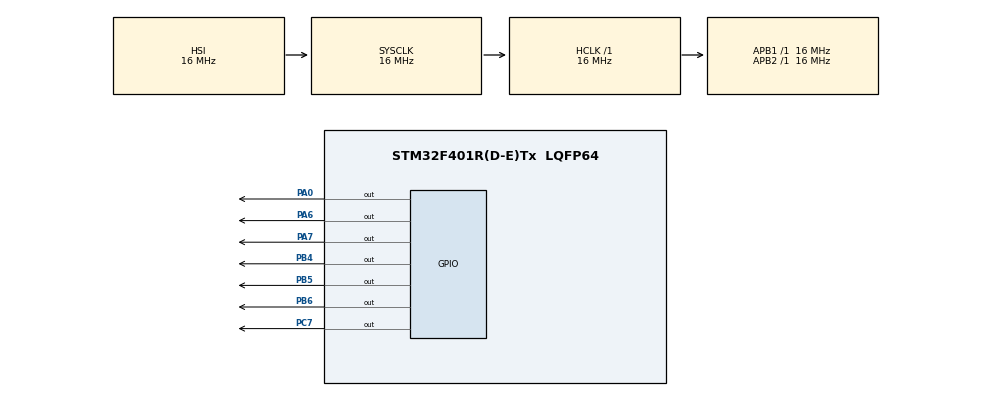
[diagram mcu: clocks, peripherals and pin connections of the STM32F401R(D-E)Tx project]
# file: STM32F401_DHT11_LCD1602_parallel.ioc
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Mcu.Family=STM32F4
Mcu.Name=STM32F401R(D-E)Tx
Mcu.Package=LQFP64
NVIC.PriorityGroup=NVIC_PRIORITYGROUP_4
PA0-WKUP.PinState=GPIO_PIN_SET
PA0-WKUP.Signal=GPIO_Output
PA6.Signal=GPIO_Output
PA7.Signal=GPIO_Output
PB4.Signal=GPIO_Output
PB5.Signal=GPIO_Output
PB6.Signal=GPIO_Output
PC7.Signal=GPIO_Output
ProjectManager.HeapSize=0x200
ProjectManager.StackSize=0x400
ProjectManager.TargetToolchain=STM32CubeIDE
RCC.AHBFreq_Value=16000000
RCC.APB1Freq_Value=16000000
RCC.APB2Freq_Value=16000000
RCC.CortexFreq_Value=16000000
RCC.HSE_VALUE=25000000
RCC.HSI_VALUE=16000000
RCC.LSE_VALUE=32768
RCC.SYSCLKFreq_VALUE=16000000
RCC.VCOOutputFreq_Value=192000000
TIM2.Period=65535
TIM2.Prescaler=15
VP_TIM2_VS_ClockSourceINT.Mode=Internal
board=custom

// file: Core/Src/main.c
/* USER CODE BEGIN Header */
/**
  ******************************************************************************
  * @file           : main.c
  * @brief          : Main program body
  ******************************************************************************
  * @attention
  *
  * Copyright (c) 2025 STMicroelectronics.
  * All rights reserved.
  *
  * This software is licensed under terms that can be found in the LICENSE file
  * in the root directory of this software component.
  * If no LICENSE file comes with this software, it is provided AS-IS.
  *
  ******************************************************************************
  */
/* USER CODE END Header */
#include "main.h"

/* USER CODE BEGIN Includes */
#include <stdio.h>
#include <string.h>
#include "stm32f4xx_hal.h"

#include "../../DelayMicro/Inc/delay_micro.h"
#include "../../Lcd1602/Inc/lcd1602.h"
#include "../../Dht11/Inc/dht11.h"
/* USER CODE END Includes */

TIM_HandleTypeDef htim2;

void SystemClock_Config(void);
static void MX_GPIO_Init(void);
static void MX_TIM2_Init(void);

int main(void)
{

  /* MCU Configuration--------------------------------------------------------*/

  /* Reset of all peripherals, Initializes the Flash interface and the Systick. */
  HAL_Init();

  /* Configure the system clock */
  SystemClock_Config();

  /* USER CODE BEGIN SysInit */
  // Initialize TIM2 to use for micro-delays
  TIM2MicrosecondsDelayInit();
  /* USER CODE END SysInit */

  /* Initialize all configured peripherals */
  MX_GPIO_Init();
  MX_TIM2_Init();
  /* USER CODE BEGIN 2 */
    char message1[100];
    char message2[100];

    strcpy(message1,  " *** STM32 ***  ");
    strcpy(message2, " DH11 connected ");

    // Configure data line pin for the DHT11
    DTH11GpioDataLine data_line = {GPIOA, GPIO_PIN_0};
    Dht11ConfigureDataLine(data_line);

    // Set Data Bus Size for 4-bit mode
    Lcd1602SetDataBusSize(LCD1602_DATA_BUS_SIZE4);
    // Define Data bus pins for 4-bit mode
	GpioItem lcd1602_gpio_data_bus[] =
	{
        {GPIOC, GPIO_PIN_7},  // D4
        {GPIOB, GPIO_PIN_6},  // D5
        {GPIOA, GPIO_PIN_7},  // D6
        {GPIOA, GPIO_PIN_6},  // D7
        {NULL, 0},
        {NULL, 0},
        {NULL, 0},
        {NULL, 0}
    };
    // Define Enable signal pin for 4-bit mode
    GpioItem enable_signal = {GPIOB, GPIO_PIN_4};
    // Define Register selection pin for 4-bit mode
    GpioItem register_selection = {GPIOB, GPIO_PIN_5};
    // Configure 4-bit mode
    Lcd1602Configure4Bits(lcd1602_gpio_data_bus, enable_signal, register_selection);

    Lcd1602ScreenClear();
    Lcd1602SetCursor(0, 1);
    Lcd1602WriteString(message1);
    Lcd1602SetCursor(1, 0);
    Lcd1602WriteString(message2);

    TIM2MillisecondsDelay(3000);
  /* USER CODE END 2 */

  /* Infinite loop */
  /* USER CODE BEGIN WHILE */

    while (1)
    {
        // Send a request to the DHT11 sensor
        Dht11SendRequest();

        // Get a response from the DHT11 sensor
        if (Dht11GetResponse())
	    {
        	// Get responsed bytes
        	uint8_t rh_byte1 = 0;
        	uint8_t rh_byte2 = 0;
        	uint8_t temp_byte1 = 0;
        	uint8_t temp_byte2 = 0;
        	uint8_t sum = 0;
        	uint8_t crc = 0;

        	Dht11GetResponsedBytes(&rh_byte1, &rh_byte2, &temp_byte1, &temp_byte2, &sum);
        	crc = rh_byte1 + rh_byte2 + temp_byte1 + temp_byte2;

        	if (crc == sum)
        	{
                float humidity = (float)(rh_byte1) + (float)(rh_byte2)/10.0;
            	float temperature = (float)(temp_byte1) + (float)(temp_byte2)/DHT11_SCALE;
            	char temperature_str[10];
                char humidity_str[10];

	            sprintf(temperature_str, "Tc = %2.1Lf", (long double)temperature);
	            sprintf(humidity_str, "Rh = %2.1Lf", (long double)humidity);

	            strcpy(message1, temperature_str);
	            strcpy(message2, humidity_str);
	            Lcd1602ScreenClear();
	            Lcd1602SetCursor(0, 4);
	            Lcd1602WriteString(message1);
	            Lcd1602SetCursor(1, 4);
	            Lcd1602WriteString(message2);
        	}
        	else
        	{
	            sprintf(message1, "*** CRC = %u", crc);
	            sprintf(message2, "*** SUM = %u", sum);
	            Lcd1602ScreenClear();
	            Lcd1602SetCursor(0, 0);
	            Lcd1602WriteString(message1);
	            Lcd1602SetCursor(1, 0);
	            Lcd1602WriteString(message2);
        	}
      }
	  else
	  {
          strcpy(message1, "*** Sensor ***");
          strcpy(message2, "*** Error ***");
          Lcd1602ScreenClear();
          Lcd1602SetCursor(0, 4);
          Lcd1602WriteString(message1);
          Lcd1602SetCursor(1, 4);
          Lcd1602WriteString(message2);
	  }

        TIM2MillisecondsDelay(2000);
    /* USER CODE END WHILE */

  }
}

void SystemClock_Config(void)
{
  RCC_OscInitTypeDef RCC_OscInitStruct = {0};
  RCC_ClkInitTypeDef RCC_ClkInitStruct = {0};

  /** Configure the main internal regulator output voltage
  */
  __HAL_RCC_PWR_CLK_ENABLE();
  __HAL_PWR_VOLTAGESCALING_CONFIG(PWR_REGULATOR_VOLTAGE_SCALE2);

  /** Initializes the RCC Oscillators according to the specified parameters
  * in the RCC_OscInitTypeDef structure.
  */
  RCC_OscInitStruct.OscillatorType = RCC_OSCILLATORTYPE_HSI;
  RCC_OscInitStruct.HSIState = RCC_HSI_ON;
  RCC_OscInitStruct.HSICalibrationValue = RCC_HSICALIBRATION_DEFAULT;
  RCC_OscInitStruct.PLL.PLLState = RCC_PLL_NONE;
  if (HAL_RCC_OscConfig(&RCC_OscInitStruct) != HAL_OK)
  {
    Error_Handler();
  }

  /** Initializes the CPU, AHB and APB buses clocks
  */
  RCC_ClkInitStruct.ClockType = RCC_CLOCKTYPE_HCLK|RCC_CLOCKTYPE_SYSCLK
                              |RCC_CLOCKTYPE_PCLK1|RCC_CLOCKTYPE_PCLK2;
  RCC_ClkInitStruct.SYSCLKSource = RCC_SYSCLKSOURCE_HSI;
  RCC_ClkInitStruct.AHBCLKDivider = RCC_SYSCLK_DIV1;
  RCC_ClkInitStruct.APB1CLKDivider = RCC_HCLK_DIV1;
  RCC_ClkInitStruct.APB2CLKDivider = RCC_HCLK_DIV1;

  if (HAL_RCC_ClockConfig(&RCC_ClkInitStruct, FLASH_LATENCY_0) != HAL_OK)
  {
    Error_Handler();
  }
}

static void MX_TIM2_Init(void)
{

  TIM_ClockConfigTypeDef sClockSourceConfig = {0};
  TIM_MasterConfigTypeDef sMasterConfig = {0};

  htim2.Instance = TIM2;
  htim2.Init.Prescaler = 15;
  htim2.Init.CounterMode = TIM_COUNTERMODE_UP;
  htim2.Init.Period = 65535;
  htim2.Init.ClockDivision = TIM_CLOCKDIVISION_DIV1;
  htim2.Init.AutoReloadPreload = TIM_AUTORELOAD_PRELOAD_DISABLE;
  if (HAL_TIM_Base_Init(&htim2) != HAL_OK)
  {
    Error_Handler();
  }
  sClockSourceConfig.ClockSource = TIM_CLOCKSOURCE_INTERNAL;
  if (HAL_TIM_ConfigClockSource(&htim2, &sClockSourceConfig) != HAL_OK)
  {
    Error_Handler();
  }
  sMasterConfig.MasterOutputTrigger = TIM_TRGO_RESET;
  sMasterConfig.MasterSlaveMode = TIM_MASTERSLAVEMODE_DISABLE;
  if (HAL_TIMEx_MasterConfigSynchronization(&htim2, &sMasterConfig) != HAL_OK)
  {
    Error_Handler();
  }

}

static void MX_GPIO_Init(void)
{
  GPIO_InitTypeDef GPIO_InitStruct = {0};

  /* GPIO Ports Clock Enable */
  __HAL_RCC_GPIOA_CLK_ENABLE();
  __HAL_RCC_GPIOC_CLK_ENABLE();
  __HAL_RCC_GPIOB_CLK_ENABLE();

  /*Configure GPIO pin Output Level */
  HAL_GPIO_WritePin(GPIOA, GPIO_PIN_0, GPIO_PIN_SET);

  /*Configure GPIO pin Output Level */
  HAL_GPIO_WritePin(GPIOA, GPIO_PIN_6|GPIO_PIN_7, GPIO_PIN_RESET);

  /*Configure GPIO pin Output Level */
  HAL_GPIO_WritePin(GPIOC, GPIO_PIN_7, GPIO_PIN_RESET);

  /*Configure GPIO pin Output Level */
  HAL_GPIO_WritePin(GPIOB, GPIO_PIN_4|GPIO_PIN_5|GPIO_PIN_6, GPIO_PIN_RESET);

  /*Configure GPIO pins : PA0 PA6 PA7 */
  GPIO_InitStruct.Pin = GPIO_PIN_0|GPIO_PIN_6|GPIO_PIN_7;
  GPIO_InitStruct.Mode = GPIO_MODE_OUTPUT_PP;
  GPIO_InitStruct.Pull = GPIO_NOPULL;
  GPIO_InitStruct.Speed = GPIO_SPEED_FREQ_LOW;
  HAL_GPIO_Init(GPIOA, &GPIO_InitStruct);

  /*Configure GPIO pin : PC7 */
  GPIO_InitStruct.Pin = GPIO_PIN_7;
  GPIO_InitStruct.Mode = GPIO_MODE_OUTPUT_PP;
  GPIO_InitStruct.Pull = GPIO_NOPULL;
  GPIO_InitStruct.Speed = GPIO_SPEED_FREQ_LOW;
  HAL_GPIO_Init(GPIOC, &GPIO_InitStruct);

  /*Configure GPIO pins : PB4 PB5 PB6 */
  GPIO_InitStruct.Pin = GPIO_PIN_4|GPIO_PIN_5|GPIO_PIN_6;
  GPIO_InitStruct.Mode = GPIO_MODE_OUTPUT_PP;
  GPIO_InitStruct.Pull = GPIO_NOPULL;
  GPIO_InitStruct.Speed = GPIO_SPEED_FREQ_LOW;
  HAL_GPIO_Init(GPIOB, &GPIO_InitStruct);

}

void Error_Handler(void)
{
  __disable_irq();
  while (1)
  {
  }
}
